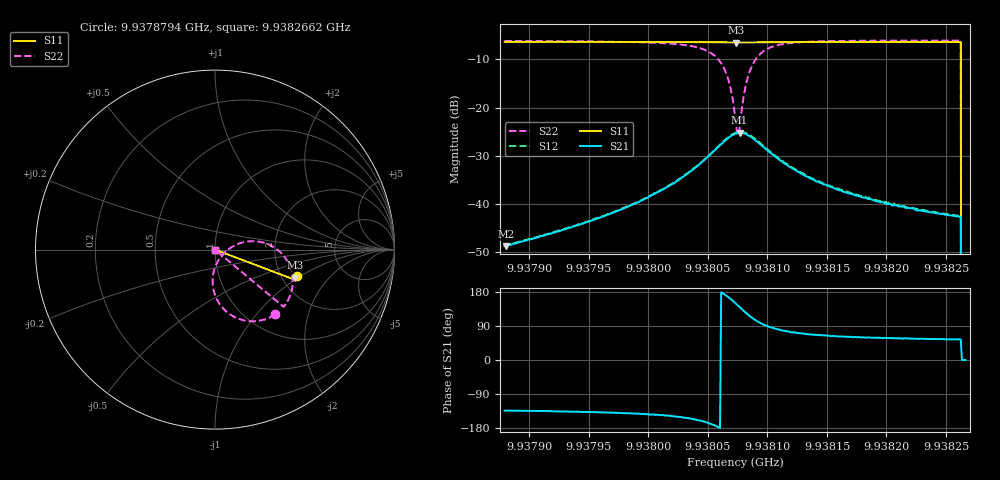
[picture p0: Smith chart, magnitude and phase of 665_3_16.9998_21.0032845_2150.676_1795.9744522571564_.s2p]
#  HZ  S  RI  R  50.00
! Rohde & Schwarz Vector Network Analyzer
! Rohde-Schwarz,ZNB20-2Port,1311601062101988,3.16
! Created: UTC 3/20/2024, 11:21:56 PM
! freq[Hz]  re:S11  im:S11  re:S21  im:S21  re:S12  im:S12  re:S22  im:S22
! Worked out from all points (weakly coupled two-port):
!   401 points, 9.9378794 GHz to 9.9382662 GHz, reference 50 ohm
!   highest |S21| = -25.22 dB at 9.9380767 GHz (marker M1); lowest = -48.8 dB at 9.9378804 GHz (marker M2)
!   lowest |S11| = -6.5 dB at 9.9380738 GHz (marker M3), VSWR 2.80, Z = 118 - j47.4 ohm
!   |S11| at or under -10 dB: 9.9382624 GHz to end of sweep
!   |S22| runs from - to -6.1 dB; largest |S21 - S12| = 0.0016
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9.93787944e9  0.4586 -0.1462  -0.00252 -0.00265  -0.00255 -0.00263  0.3351 -0.361
9.93788041e9  0.4582 -0.1462  -0.00252 -0.00264  -0.00259 -0.00266  0.3349 -0.3612
9.93794423e9  0.4566 -0.1508  -0.00455 -0.00427  -0.00464 -0.00426  0.3134 -0.3741
9.93800902e9  0.4541 -0.1555  -0.011 -0.00774  -0.0113 -0.00755  0.2538 -0.3954
9.93803996e9  0.4521 -0.1579  -0.0221 -0.0092  -0.0225 -0.00905  0.1612 -0.3944
9.9380564e9  0.4498 -0.1587  -0.0364 -0.00434  -0.037 -0.00387  0.0534 -0.3359
9.93806607e9  0.4481 -0.1581  -0.0464 0.00912  -0.0471 0.00969  -0.00989 -0.2159
9.93806994e9  0.4475 -0.1572  -0.0479 0.0183  -0.0487 0.0192  -0.0107 -0.1412
9.93807284e9  0.4475 -0.1565  -0.0467 0.026  -0.0476 0.0266  0.00729 -0.0818
9.9380738e9  0.4472 -0.1563  -0.0458 0.0284  -0.0466 0.0292  0.0177 -0.0622
9.93807574e9  0.4475 -0.1558  -0.0434 0.0331  -0.044 0.0343  0.044 -0.0267
9.93807671e9  0.4476 -0.1556  -0.0418 0.0355  -0.0424 0.0365  0.0602 -0.0105
9.93808057e9  0.4484 -0.1547  -0.0334 0.0424  -0.034 0.0435  0.1366 0.0348
9.93808347e9  0.449 -0.1544  -0.0263 0.0449  -0.0265 0.0463  0.1981 0.0466
9.93808734e9  0.4501 -0.1544  -0.0173 0.0453  -0.0172 0.0467  0.2723 0.0381
9.93809218e9  0.451 -0.1547  -0.00826 0.0427  -0.00797 0.044  0.3413 0.00402
9.93810765e9  0.4524 -0.1569  0.00433 0.0301  0.00513 0.0306  0.4257 -0.1194
9.93813763e9  0.4523 -0.1603  0.00705 0.0167  0.00745 0.0169  0.4263 -0.2317
9.93820241e9  0.4505 -0.1656  0.00538 0.00854  0.00561 0.00843  0.3973 -0.298
9.93826043e9  0.4488 -0.1694  0.00432 0.00606  0.00449 0.00607  0.3825 -0.3186
9.93826527e9  0 0  0 0  0 0  0 0
9.93826623e9  0 0  0 0  0 0  0 0
